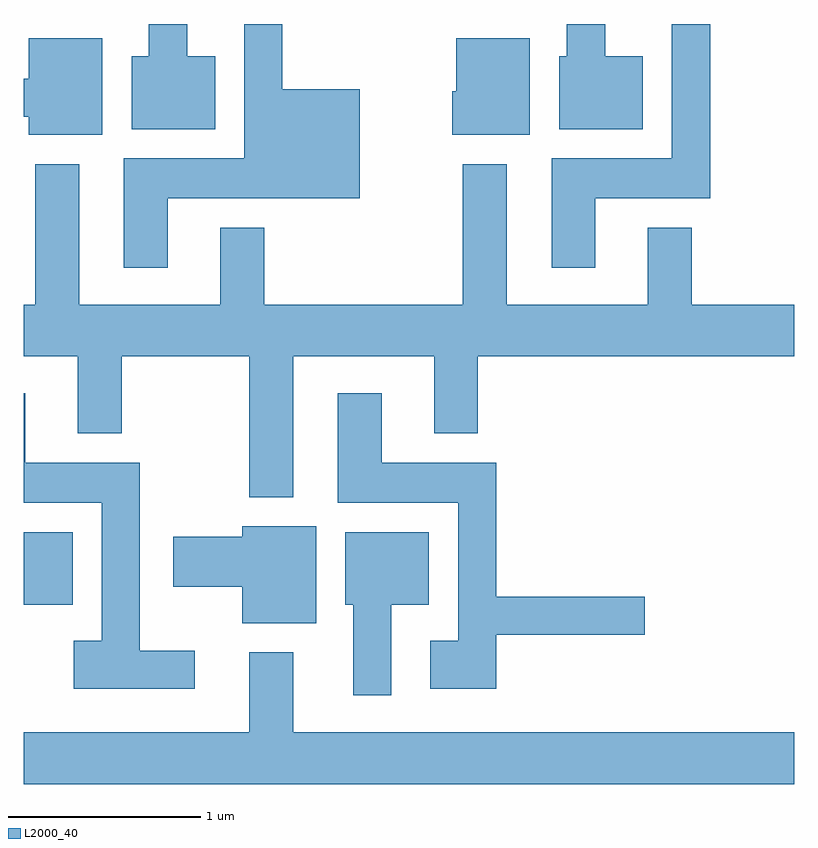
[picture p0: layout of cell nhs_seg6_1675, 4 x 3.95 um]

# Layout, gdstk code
import gdstk
lib = gdstk.Library(unit=1e-6, precision=1e-09)
def R(c, l, rs):  # rectangles x0, y0, x1, y1
    for r in rs: c.add(gdstk.rectangle(r[:2], r[2:], *l))
def P(c, l, *ps):  # polygons
    for p in ps: c.add(gdstk.Polygon(p, *l))
L2000_40 = (2000, 40)

nhs_seg6_1675 = lib.new_cell('nhs_seg6_1675')
R(nhs_seg6_1675, L2000_40, [(235.611,1593.146,235.864,1593.524)])
P(nhs_seg6_1675, L2000_40, [(238.824,1595.994),(238.629,1595.994),(238.629,1596.162),(238.431,1596.162),(238.431,1595.994),(238.391,1595.994),(238.391,1595.616),(238.824,1595.616)],
  [(238.579,1595.256),(239.174,1595.256),(239.174,1596.162),(238.976,1596.162),(238.976,1595.464),(238.351,1595.464),(238.351,1594.896),(238.579,1594.896)],
  [(236.604,1595.994),(236.459,1595.994),(236.459,1596.162),(236.261,1596.162),(236.261,1595.994),(236.171,1595.994),(236.171,1595.616),(236.604,1595.616)],
  [(236.359,1595.256),(237.354,1595.256),(237.354,1595.824),(236.954,1595.824),(236.954,1596.162),(236.756,1596.162),(236.756,1595.464),(236.131,1595.464),(236.131,1594.896),(236.359,1594.896)],
  [(238.239,1596.089),(237.856,1596.089),(237.856,1595.814),(237.836,1595.814),(237.836,1595.586),(238.239,1595.586)],
  [(236.019,1596.089),(235.636,1596.089),(235.636,1595.879),(235.611,1595.879),(235.611,1595.681),(235.636,1595.681),(235.636,1595.586),(236.019,1595.586)],
  [(237.009,1594.436),(237.741,1594.436),(237.741,1594.036),(237.969,1594.036),(237.969,1594.436),(239.611,1594.436),(239.611,1594.704),(239.079,1594.704),(239.079,1595.104),(238.851,1595.104),(238.851,1594.704),(238.119,1594.704),(238.119,1595.434),(237.891,1595.434),(237.891,1594.704),(236.859,1594.704),(236.859,1595.104),(236.631,1595.104),(236.631,1594.704),(235.899,1594.704),(235.899,1595.434),(235.671,1595.434),(235.671,1594.704),(235.611,1594.704),(235.611,1594.436),(235.891,1594.436),(235.891,1594.036),(236.119,1594.036),(236.119,1594.436),(236.781,1594.436),(236.781,1593.706),(237.009,1593.706)],
  [(238.064,1592.991),(238.834,1592.991),(238.834,1593.189),(238.064,1593.189),(238.064,1593.884),(237.469,1593.884),(237.469,1594.244),(237.241,1594.244),(237.241,1593.676),(237.866,1593.676),(237.866,1592.959),(237.721,1592.959),(237.721,1592.711),(238.064,1592.711)],
  [(236.499,1592.909),(236.214,1592.909),(236.214,1593.884),(235.619,1593.884),(235.619,1594.244),(235.611,1594.244),(235.611,1593.676),(236.016,1593.676),(236.016,1592.959),(235.871,1592.959),(235.871,1592.711),(236.499,1592.711)],
  [(237.129,1593.554),(236.746,1593.554),(236.746,1593.499),(236.386,1593.499),(236.386,1593.241),(236.746,1593.241),(236.746,1593.051),(237.129,1593.051)],
  [(237.519,1593.146),(237.714,1593.146),(237.714,1593.524),(237.281,1593.524),(237.281,1593.146),(237.321,1593.146),(237.321,1592.676),(237.519,1592.676)],
  [(239.611,1592.484),(237.009,1592.484),(237.009,1592.899),(236.781,1592.899),(236.781,1592.484),(235.611,1592.484),(235.611,1592.216),(239.611,1592.216)])

lib.write_gds('nhs_seg6_1675.gds')
